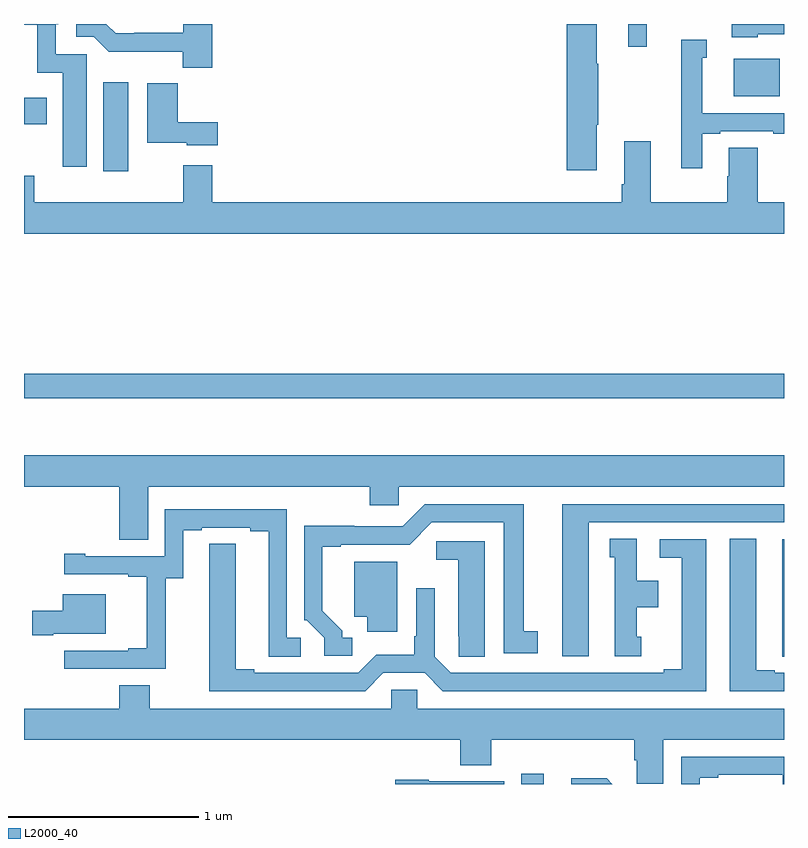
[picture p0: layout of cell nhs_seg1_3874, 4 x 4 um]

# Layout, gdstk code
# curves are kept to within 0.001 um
import gdstk
lib = gdstk.Library(unit=1e-6, precision=1e-09)
def R(c, l, rs):  # rectangles x0, y0, x1, y1
    for r in rs: c.add(gdstk.rectangle(r[:2], r[2:], *l))
def P(c, l, *ps):  # polygons
    for p in ps: c.add(gdstk.Polygon(p, *l))
L2000_40 = (2000, 40)

nhs_seg1_3874 = lib.new_cell('nhs_seg1_3874')
R(nhs_seg1_3874, L2000_40, [(325.617,518.199,325.735,518.254), (323,520.23,327,520.358), (323.417,521.424,323.548,521.893), (323,521.672,323.119,521.812), (326.735,521.819,326.977,522.016), (326.18,522.078,326.277,522.199)])
P(nhs_seg1_3874, L2000_40, [(323.99,522.199),(323.837,522.199),(323.837,522.153),(323.581,522.153),(323.581,522.15),(323.482,522.15),(323.433,522.199),(323.274,522.199),(323.274,522.132),(323.367,522.132),(323.446,522.054),(323.835,522.054),(323.835,521.969),(323.99,521.969)],
  [(326.014,521.668),(326.022,521.668),(326.022,521.99),(326.014,521.99),(326.014,522.199),(325.856,522.199),(325.856,521.43),(326.014,521.43)],
  [(323.329,522.039),(323.166,522.039),(323.166,522.198),(323.179,522.198),(323.179,522.199),(323,522.199),(323,522.194),(323.07,522.194),(323.07,521.942),(323.204,521.942),(323.204,521.448),(323.329,521.448)],
  [(326.862,522.144),(327,522.144),(327,522.199),(326.726,522.199),(326.726,522.128),(326.862,522.128)],
  [(326.569,521.621),(326.665,521.621),(326.665,521.634),(326.944,521.634),(326.944,521.621),(327,521.621),(327,521.73),(326.569,521.73),(326.569,522.021),(326.593,522.021),(326.593,522.115),(326.46,522.115),(326.46,521.683),(326.459,521.683),(326.459,521.439),(326.569,521.439)],
  [(324.019,521.683),(323.81,521.683),(323.81,521.887),(323.648,521.887),(323.648,521.573),(323.856,521.573),(323.856,521.561),(324.019,521.561)],
  [(327,521.26),(326.861,521.26),(326.861,521.549),(326.708,521.549),(326.708,521.399),(326.701,521.399),(326.701,521.26),(326.299,521.26),(326.299,521.581),(326.159,521.581),(326.159,521.356),(326.147,521.356),(326.147,521.26),(323.99,521.26),(323.99,521.455),(323.837,521.455),(323.837,521.26),(323.054,521.26),(323.054,521.401),(323,521.401),(323,521.096),(327,521.096)],
  [(323.653,519.764),(324.821,519.764),(324.821,519.666),(324.972,519.666),(324.972,519.764),(327,519.764),(327,519.928),(323,519.928),(323,519.764),(323.501,519.764),(323.501,519.484),(323.653,519.484)],
  [(325.972,519.576),(327,519.576),(327,519.672),(325.832,519.672),(325.832,518.871),(325.972,518.871)],
  [(324.727,518.97),(324.676,518.97),(324.676,519.005),(324.571,519.11),(324.571,519.447),(324.667,519.447),(324.667,519.459),(325.029,519.459),(325.146,519.576),(325.526,519.576),(325.526,518.886),(325.705,518.886),(325.705,519.002),(325.63,519.002),(325.63,519.672),(325.11,519.672),(324.993,519.555),(324.737,519.555),(324.737,519.557),(324.474,519.557),(324.474,519.06),(324.489,519.06),(324.579,518.97),(324.579,518.874),(324.727,518.874)],
  [(323.745,519.283),(323.839,519.283),(323.839,519.534),(323.935,519.534),(323.935,519.549),(324.191,519.549),(324.191,519.529),(324.287,519.529),(324.287,518.869),(324.457,518.869),(324.457,518.97),(324.384,518.97),(324.384,519.645),(323.742,519.645),(323.742,519.399),(323.323,519.399),(323.323,519.412),(323.211,519.412),(323.211,519.303),(323.549,519.303),(323.549,519.291),(323.645,519.291),(323.645,518.914),(323.549,518.914),(323.549,518.901),(323.211,518.901),(323.211,518.805),(323.745,518.805)],
  [(327,518.784),(326.95,518.784),(326.95,518.799),(326.854,518.799),(326.854,519.491),(326.714,519.491),(326.714,518.688),(327,518.688)],
  [(326.248,518.973),(326.224,518.973),(326.224,519.128),(326.338,519.128),(326.338,519.268),(326.224,519.268),(326.224,519.491),(326.084,519.491),(326.084,519.393),(326.108,519.393),(326.108,518.871),(326.248,518.871)],
  [(327,519.487),(326.99,519.487),(326.99,518.977),(326.991,518.977),(326.991,518.869),(327,518.869)],
  [(324.891,518.784),(325.109,518.784),(325.205,518.688),(326.59,518.688),(326.59,519.486),(326.346,519.486),(326.346,519.39),(326.462,519.39),(326.462,518.804),(326.366,518.804),(326.366,518.784),(325.245,518.784),(325.161,518.868),(325.161,519.229),(325.065,519.229),(325.065,518.977),(325.053,518.977),(325.053,518.88),(324.855,518.88),(324.759,518.784),(324.211,518.784),(324.211,518.804),(324.115,518.804),(324.115,519.464),(323.976,519.464),(323.975,518.688),(324.795,518.688)],
  [(325.426,519.477),(325.17,519.477),(325.17,519.38),(325.286,519.38),(325.286,518.977),(325.287,518.977),(325.287,518.869),(325.426,518.869)],
  [(324.964,519.37),(324.737,519.37),(324.737,519.08),(324.806,519.08),(324.806,519),(324.964,519)],
  [(323.155,518.99),(323.431,518.99),(323.431,519.199),(323.204,519.199),(323.204,519.112),(323.043,519.112),(323.043,518.983),(323.155,518.983)],
  [(325.071,518.694),(324.933,518.694),(324.933,518.596),(323.661,518.596),(323.661,518.72),(323.501,518.72),(323.501,518.596),(323,518.596),(323,518.432),(325.295,518.432),(325.295,518.299),(325.46,518.299),(325.46,518.432),(326.213,518.432),(326.213,518.323),(326.226,518.323),(326.226,518.2),(326.365,518.2),(326.365,518.432),(327,518.432),(327,518.596),(325.071,518.596)],
  [(326.557,518.232),(326.653,518.232),(326.653,518.247),(326.994,518.247),(326.994,518.199),(327,518.199),(327,518.343),(326.46,518.343),(326.46,518.199),(326.557,518.199)],
  [(326.068,518.228),(325.881,518.228),(325.881,518.199),(326.097,518.199)],
  [(325.527,518.214),(325.131,518.214),(325.131,518.221),(324.955,518.221),(324.955,518.199),(325.527,518.199)])

lib.write_gds('nhs_seg1_3874.gds')
